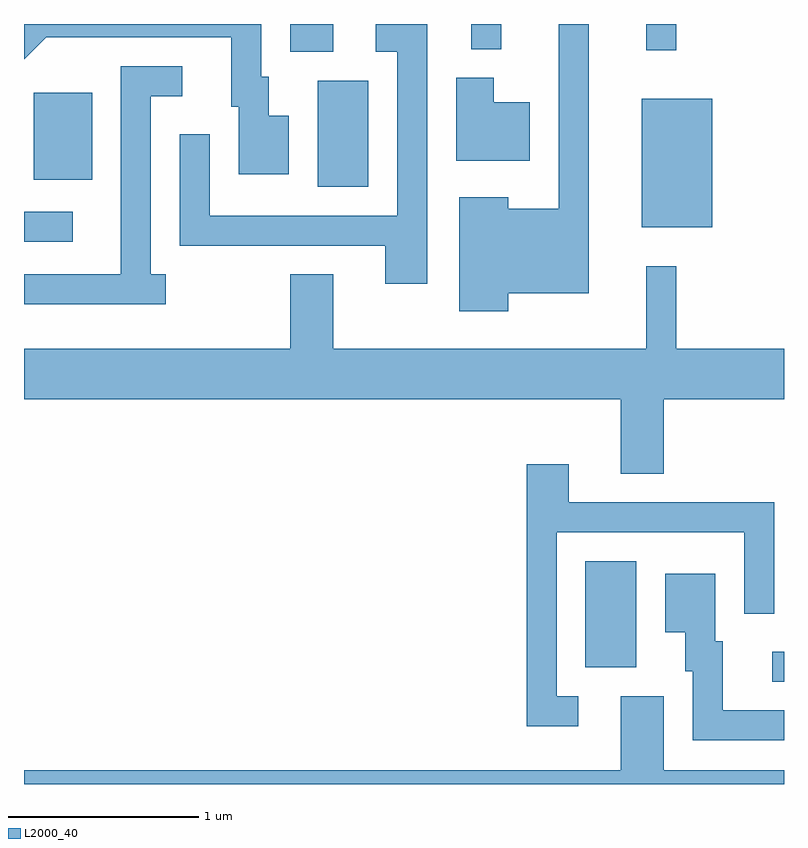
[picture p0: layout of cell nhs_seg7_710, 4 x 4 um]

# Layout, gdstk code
import gdstk
lib = gdstk.Library(unit=1e-6, precision=1e-09)
def R(c, l, rs):  # rectangles x0, y0, x1, y1
    for r in rs: c.add(gdstk.rectangle(r[:2], r[2:], *l))
def P(c, l, *ps):  # polygons
    for p in ps: c.add(gdstk.Polygon(p, *l))
L2000_40 = (2000, 40)

nhs_seg7_710 = lib.new_cell('nhs_seg7_710')
R(nhs_seg7_710, L2000_40, [(209.548,1752.791,209.611,1752.949), (208.566,1752.866,208.834,1753.424), (205.611,1755.106,205.868,1755.264), (208.861,1755.181,209.234,1755.859), (207.156,1755.396,207.424,1755.954), (205.661,1755.431,205.969,1755.889), (207.011,1756.106,207.239,1756.252), (208.886,1756.113,209.044,1756.252), (207.966,1756.118,208.124,1756.252)])
P(nhs_seg7_710, L2000_40, [(208.159,1754.836),(208.584,1754.836),(208.584,1756.252),(208.426,1756.252),(208.426,1755.279),(208.159,1755.279),(208.159,1755.339),(207.901,1755.339),(207.901,1754.741),(208.159,1754.741)],
  [(207.004,1755.769),(206.899,1755.769),(206.899,1755.974),(206.859,1755.974),(206.859,1756.252),(205.611,1756.252),(205.611,1756.066),(205.727,1756.181),(206.701,1756.181),(206.701,1755.816),(206.741,1755.816),(206.741,1755.461),(207.004,1755.461)],
  [(207.734,1756.252),(207.463,1756.252),(207.463,1756.106),(207.576,1756.106),(207.576,1755.244),(206.589,1755.244),(206.589,1755.673),(206.431,1755.673),(206.431,1755.086),(207.511,1755.086),(207.511,1754.886),(207.734,1754.886)],
  [(206.358,1754.934),(206.279,1754.934),(206.279,1755.871),(206.443,1755.871),(206.443,1756.029),(206.121,1756.029),(206.121,1754.934),(205.611,1754.934),(205.611,1754.776),(206.358,1754.776)],
  [(208.274,1755.839),(208.084,1755.839),(208.084,1755.969),(207.886,1755.969),(207.886,1755.531),(208.274,1755.531)],
  [(208.979,1754.276),(209.611,1754.276),(209.611,1754.544),(209.044,1754.544),(209.044,1754.978),(208.886,1754.978),(208.886,1754.544),(207.239,1754.544),(207.239,1754.934),(207.011,1754.934),(207.011,1754.544),(205.611,1754.544),(205.611,1754.276),(208.751,1754.276),(208.751,1753.886),(208.979,1753.886)],
  [(208.528,1752.714),(208.414,1752.714),(208.414,1753.576),(209.401,1753.576),(209.401,1753.148),(209.559,1753.148),(209.559,1753.734),(208.479,1753.734),(208.479,1753.934),(208.256,1753.934),(208.256,1752.556),(208.528,1752.556)],
  [(209.611,1752.639),(209.289,1752.639),(209.289,1753.004),(209.249,1753.004),(209.249,1753.359),(208.986,1753.359),(208.986,1753.051),(209.091,1753.051),(209.091,1752.846),(209.131,1752.846),(209.131,1752.481),(209.611,1752.481)],
  [(209.611,1752.324),(208.979,1752.324),(208.979,1752.714),(208.751,1752.714),(208.751,1752.324),(205.611,1752.324),(205.611,1752.252),(209.611,1752.252)])

lib.write_gds('nhs_seg7_710.gds')
